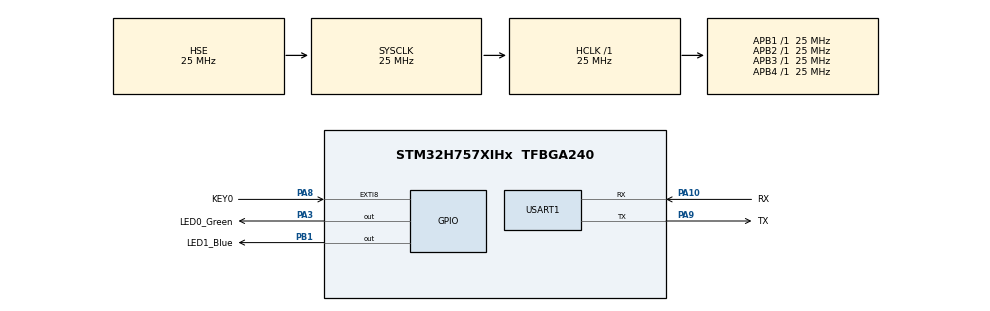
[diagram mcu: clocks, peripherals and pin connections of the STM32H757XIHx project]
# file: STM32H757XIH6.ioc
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CORTEX_M7.default_mode_Activation=1
CortexM4.IPs=CORTEX_M4\:I,FATFS_M4\:I,FREERTOS_M4\:I,IWDG2\:I,OPENAMP_M4\:I,PDM2PCM_M4\:I,PWR,RCC,RESMGR_UTILITY,SYS_M4\:I,USB_DEVICE_M4\:I,USB_HOST_M4\:I,VREFBUF,WWDG2\:I,GPIO,DMA,BDMA,MDMA,NVIC2\:I,DEBUG
CortexM7.IPs=CORTEX_M7\:I,FATFS_M7\:I,FREERTOS_M7\:I,IWDG1\:I,OPENAMP_M7\:I,PDM2PCM_M7\:I,PWR\:I,RCC\:I,RESMGR_UTILITY\:I,SYS\:I,USB_DEVICE_M7\:I,USB_HOST_M7\:I,VREFBUF\:I,WWDG1\:I,GPIO\:I,DMA\:I,BDMA\:I,MDMA\:I,NVIC1\:I,USART1\:I,DEBUG\:I
CortexM7.Pins=PA8,PB1,PA3
Mcu.Family=STM32H7
Mcu.Name=STM32H757XIHx
Mcu.Package=TFBGA240
NVIC1.EXTI9_5_IRQn=true\:0\:0\:false\:false\:true\:true\:true\:true
NVIC1.PriorityGroup=NVIC_PRIORITYGROUP_4
NVIC1.USART1_IRQn=true\:0\:0\:false\:false\:true\:true\:true\:true
NVIC2.PriorityGroup=NVIC_PRIORITYGROUP_4
PA10.GPIO_Label=RX
PA10.Mode=Asynchronous
PA10.PinAttribute=CortexM7
PA10.Signal=USART1_RX
PA13\ (JTMS/SWDIO).Mode=Serial_Wire
PA13\ (JTMS/SWDIO).PinAttribute=CortexM7
PA13\ (JTMS/SWDIO).Signal=DEBUG_JTMS-SWDIO
PA14\ (JTCK/SWCLK).Mode=Serial_Wire
PA14\ (JTCK/SWCLK).PinAttribute=CortexM7
PA14\ (JTCK/SWCLK).Signal=DEBUG_JTCK-SWCLK
PA3.GPIO_Label=LED0_Green
PA3.PinAttribute=CortexM7
PA3.PinState=GPIO_PIN_SET
PA3.Signal=GPIO_Output
PA8.GPIO_Label=KEY0
PA8.GPIO_PuPd=GPIO_PULLDOWN
PA8.PinAttribute=CortexM7
PA8.Signal=GPXTI8
PA9.GPIO_Label=TX
PA9.Mode=Asynchronous
PA9.PinAttribute=CortexM7
PA9.Signal=USART1_TX
PB1.GPIO_Label=LED1_Blue
PB1.PinAttribute=CortexM7
PB1.PinState=GPIO_PIN_SET
PB1.Signal=GPIO_Output
PC14-OSC32_IN\ (OSC32_IN).Mode=LSE-External-Oscillator
PC14-OSC32_IN\ (OSC32_IN).PinAttribute=Free
PC14-OSC32_IN\ (OSC32_IN).Signal=RCC_OSC32_IN
PC15-OSC32_OUT\ (OSC32_OUT).Mode=LSE-External-Oscillator
PC15-OSC32_OUT\ (OSC32_OUT).PinAttribute=Free
PC15-OSC32_OUT\ (OSC32_OUT).Signal=RCC_OSC32_OUT
PH0-OSC_IN\ (PH0).Mode=HSE-External-Clock-Source
PH0-OSC_IN\ (PH0).PinAttribute=Free
PH0-OSC_IN\ (PH0).Signal=RCC_OSC_IN
ProjectManager.HeapSize=M4-0x200,M7-0x200
ProjectManager.StackSize=M4-0x400,M7-0x400
ProjectManager.TargetToolchain=Makefile
RCC.ADCFreq_Value=50390625
RCC.APB1Freq_Value=25000000
RCC.APB2Freq_Value=25000000
RCC.APB3Freq_Value=25000000
RCC.APB4Freq_Value=25000000
RCC.CortexFreq_Value=25000000
RCC.HCLKFreq_Value=25000000
RCC.PLLSourceVirtual=RCC_PLLSOURCE_HSE
RCC.SYSCLKFreq_VALUE=25000000
RCC.SYSCLKSource=RCC_SYSCLKSOURCE_HSE
RCC.SupplySource=PWR_LDO_SUPPLY
RCC.USBFreq_Value=50390625
SYS.userName=SYS_M7
USART1.VirtualMode-Asynchronous=VM_ASYNC
VP_SYS_M4_VS_Systick.Mode=SysTick
board=custom

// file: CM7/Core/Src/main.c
/* USER CODE BEGIN Header */
/**
  ******************************************************************************
  * @file           : main.c
  * @brief          : Main program body
  ******************************************************************************
  * @attention
  *
  * Copyright (c) 2026 STMicroelectronics.
  * All rights reserved.
  *
  * This software is licensed under terms that can be found in the LICENSE file
  * in the root directory of this software component.
  * If no LICENSE file comes with this software, it is provided AS-IS.
  *
  ******************************************************************************
  */
/* USER CODE END Header */
#include "main.h"
#include "usart.h"
#include "gpio.h"

/* USER CODE BEGIN Includes */
#include <stdio.h>
/* USER CODE END Includes */

/* USER CODE BEGIN PD */

/* DUAL_CORE_BOOT_SYNC_SEQUENCE: Define for dual core boot synchronization    */
/*                             demonstration code based on hardware semaphore */
/* This define is present in both CM7/CM4 projects                            */
/* To comment when developping/debugging on a single core                     */
#define DUAL_CORE_BOOT_SYNC_SEQUENCE

#if defined(DUAL_CORE_BOOT_SYNC_SEQUENCE)
#ifndef HSEM_ID_0
#define HSEM_ID_0 (0U) /* HW semaphore 0*/
#endif
#endif /* DUAL_CORE_BOOT_SYNC_SEQUENCE */

/* USER CODE END PD */

/* USER CODE BEGIN PV */
 uint8_t rx_data = 0;
/* USER CODE END PV */

void SystemClock_Config(void);
static void MPU_Config(void);

int main(void)
{

/* USER CODE BEGIN Boot_Mode_Sequence_0 */
#if defined(DUAL_CORE_BOOT_SYNC_SEQUENCE)
  int32_t timeout;
#endif /* DUAL_CORE_BOOT_SYNC_SEQUENCE */
/* USER CODE END Boot_Mode_Sequence_0 */

  /* MPU Configuration--------------------------------------------------------*/
  MPU_Config();

/* USER CODE BEGIN Boot_Mode_Sequence_1 */
#if defined(DUAL_CORE_BOOT_SYNC_SEQUENCE)
  /* Wait until CPU2 boots and enters in stop mode or timeout*/
  timeout = 0xFFFF;
  while((__HAL_RCC_GET_FLAG(RCC_FLAG_D2CKRDY) != RESET) && (timeout-- > 0));
  if ( timeout < 0 )
  {
  Error_Handler();
  }
#endif /* DUAL_CORE_BOOT_SYNC_SEQUENCE */
/* USER CODE END Boot_Mode_Sequence_1 */
  /* MCU Configuration--------------------------------------------------------*/

  /* Reset of all peripherals, Initializes the Flash interface and the Systick. */
  HAL_Init();

  /* Configure the system clock */
  SystemClock_Config();
/* USER CODE BEGIN Boot_Mode_Sequence_2 */
#if defined(DUAL_CORE_BOOT_SYNC_SEQUENCE)
/* When system initialization is finished, Cortex-M7 will release Cortex-M4 by means of
HSEM notification */
/*HW semaphore Clock enable*/
__HAL_RCC_HSEM_CLK_ENABLE();
/*Take HSEM */
HAL_HSEM_FastTake(HSEM_ID_0);
/*Release HSEM in order to notify the CPU2(CM4)*/
HAL_HSEM_Release(HSEM_ID_0,0);
/* wait until CPU2 wakes up from stop mode */
timeout = 0xFFFF;
while((__HAL_RCC_GET_FLAG(RCC_FLAG_D2CKRDY) == RESET) && (timeout-- > 0));
if ( timeout < 0 )
{
Error_Handler();
}
#endif /* DUAL_CORE_BOOT_SYNC_SEQUENCE */
/* USER CODE END Boot_Mode_Sequence_2 */

  /* Initialize all configured peripherals */
  MX_GPIO_Init();
  MX_USART1_UART_Init();
  /* USER CODE BEGIN 2 */
  HAL_UART_Receive_IT(&huart1,&rx_data,1);
  uint8_t counter = 0;
  char buffer[20];
  /* USER CODE END 2 */

  /* Infinite loop */
  while (1)
  {

    /* USER CODE BEGIN 3 */
    counter++;

    int len = snprintf(buffer, sizeof(buffer), "%u\r\n", counter);
    HAL_UART_Transmit(&huart1, (uint8_t *)buffer, len, 1000);

    HAL_GPIO_TogglePin(LED0_Green_GPIO_Port, LED0_Green_Pin);
    HAL_Delay(1000);
  }
  /* USER CODE END 3 */
}

void SystemClock_Config(void)
{
  RCC_OscInitTypeDef RCC_OscInitStruct = {0};
  RCC_ClkInitTypeDef RCC_ClkInitStruct = {0};

  /** Supply configuration update enable
  */
  HAL_PWREx_ConfigSupply(PWR_LDO_SUPPLY);

  /** Configure the main internal regulator output voltage
  */
  __HAL_PWR_VOLTAGESCALING_CONFIG(PWR_REGULATOR_VOLTAGE_SCALE3);

  while(!__HAL_PWR_GET_FLAG(PWR_FLAG_VOSRDY)) {}

  /** Initializes the RCC Oscillators according to the specified parameters
  * in the RCC_OscInitTypeDef structure.
  */
  RCC_OscInitStruct.OscillatorType = RCC_OSCILLATORTYPE_HSE;
  RCC_OscInitStruct.HSEState = RCC_HSE_BYPASS;
  RCC_OscInitStruct.PLL.PLLState = RCC_PLL_NONE;
  if (HAL_RCC_OscConfig(&RCC_OscInitStruct) != HAL_OK)
  {
    Error_Handler();
  }

  /** Initializes the CPU, AHB and APB buses clocks
  */
  RCC_ClkInitStruct.ClockType = RCC_CLOCKTYPE_HCLK|RCC_CLOCKTYPE_SYSCLK
                              |RCC_CLOCKTYPE_PCLK1|RCC_CLOCKTYPE_PCLK2
                              |RCC_CLOCKTYPE_D3PCLK1|RCC_CLOCKTYPE_D1PCLK1;
  RCC_ClkInitStruct.SYSCLKSource = RCC_SYSCLKSOURCE_HSE;
  RCC_ClkInitStruct.SYSCLKDivider = RCC_SYSCLK_DIV1;
  RCC_ClkInitStruct.AHBCLKDivider = RCC_HCLK_DIV1;
  RCC_ClkInitStruct.APB3CLKDivider = RCC_APB3_DIV1;
  RCC_ClkInitStruct.APB1CLKDivider = RCC_APB1_DIV1;
  RCC_ClkInitStruct.APB2CLKDivider = RCC_APB2_DIV1;
  RCC_ClkInitStruct.APB4CLKDivider = RCC_APB4_DIV1;

  if (HAL_RCC_ClockConfig(&RCC_ClkInitStruct, FLASH_LATENCY_0) != HAL_OK)
  {
    Error_Handler();
  }
}

/* USER CODE BEGIN 4 */
void HAL_UART_RxCpltCallback(UART_HandleTypeDef *huart)
{
  if (huart->Instance == USART1)
  {
    printf("recv:%d\r\n",rx_data);
    HAL_UART_Receive_IT(&huart1,&rx_data,1);
  }

}
/* USER CODE END 4 */

 /* MPU Configuration */

void MPU_Config(void)
{
  MPU_Region_InitTypeDef MPU_InitStruct = {0};

  /* Disables the MPU */
  HAL_MPU_Disable();

  /** Initializes and configures the Region and the memory to be protected
  */
  MPU_InitStruct.Enable = MPU_REGION_ENABLE;
  MPU_InitStruct.Number = MPU_REGION_NUMBER0;
  MPU_InitStruct.BaseAddress = 0x0;
  MPU_InitStruct.Size = MPU_REGION_SIZE_4GB;
  MPU_InitStruct.SubRegionDisable = 0x87;
  MPU_InitStruct.TypeExtField = MPU_TEX_LEVEL0;
  MPU_InitStruct.AccessPermission = MPU_REGION_NO_ACCESS;
  MPU_InitStruct.DisableExec = MPU_INSTRUCTION_ACCESS_DISABLE;
  MPU_InitStruct.IsShareable = MPU_ACCESS_SHAREABLE;
  MPU_InitStruct.IsCacheable = MPU_ACCESS_NOT_CACHEABLE;
  MPU_InitStruct.IsBufferable = MPU_ACCESS_NOT_BUFFERABLE;

  HAL_MPU_ConfigRegion(&MPU_InitStruct);
  /* Enables the MPU */
  HAL_MPU_Enable(MPU_PRIVILEGED_DEFAULT);

}

void Error_Handler(void)
{
  __disable_irq();
  while (1)
  {
  }
}
